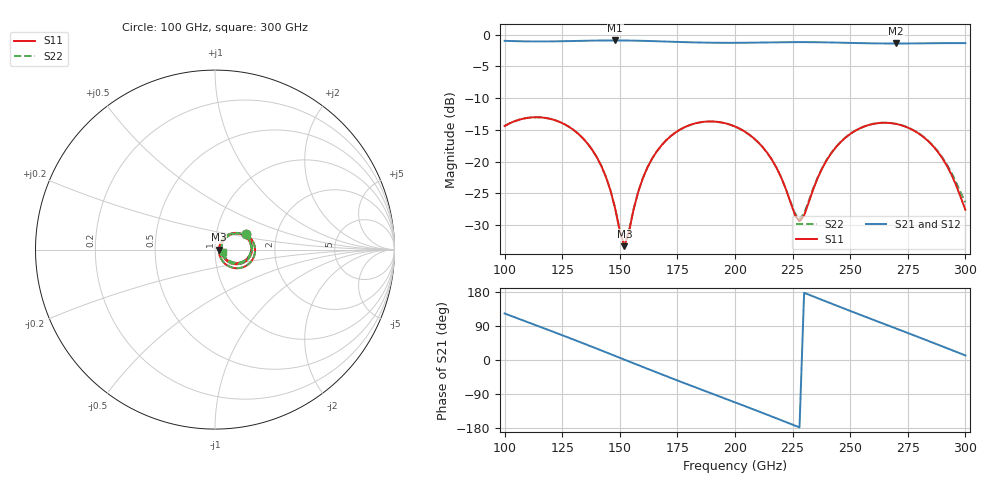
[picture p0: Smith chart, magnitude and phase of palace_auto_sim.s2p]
#  GHZ S DB R 50
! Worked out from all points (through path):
!   101 points, 100 GHz to 300 GHz, reference 50 ohm
!   highest |S21| = -0.94 dB at 148 GHz (marker M1); lowest = -1.4 dB at 270 GHz (marker M2)
!   group delay of S21, straight-line fit = 6.55 ps
!   lowest |S11| = -33.3 dB at 152 GHz (marker M3), VSWR 1.04, Z = 52.2 - j0.0789 ohm
!   |S11| at or under -10 dB: start of sweep to end of sweep
!   |S22| runs from -33.0 to -13.0 dB; largest |S21 - S12| = 1.5e-13
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100  -14.39 26.5  -1.00 122.8  -1.00 122.8  -14.40 26.8
110  -13.11 6.1  -1.08 99.9  -1.08 99.9  -13.11 6.3
118  -13.14 -10.4  -1.09 81.6  -1.09 81.6  -13.14 -10.2
134  -16.32 -42.7  -0.99 44.3  -0.99 44.3  -16.32 -42.4
142  -20.70 -55.3  -0.95 25.2  -0.95 25.2  -20.69 -54.9
148  -27.41 -52.1  -0.94 10.7  -0.94 10.7  -27.34 -51.3
152  -33.29 -2.0  -0.94 1.0  -0.94 1.0  -33.04 -2.0
160  -22.60 53.2  -1.00 -18.3  -1.00 -18.3  -22.58 52.8
168  -17.47 43.1  -1.08 -37.4  -1.08 -37.4  -17.47 42.9
184  -13.87 12.6  -1.25 -74.9  -1.25 -74.9  -13.87 12.6
200  -14.47 -18.1  -1.30 -111.8  -1.30 -111.8  -14.48 -17.9
214  -18.62 -40.5  -1.25 -144.5  -1.25 -144.5  -18.62 -40.0
228  -29.41 1.5  -1.20 -177.9  -1.20 -177.9  -29.05 2.1
234  -24.30 45.1  -1.21 167.7  -1.21 167.7  -24.15 44.2
240  -19.65 46.6  -1.24 153.3  -1.24 153.3  -19.59 45.9
248  -16.20 35.4  -1.30 134.3  -1.30 134.3  -16.18 35.0
258  -14.24 16.8  -1.38 110.8  -1.38 110.8  -14.22 16.7
268  -13.95 -2.6  -1.41 87.6  -1.41 87.6  -13.93 -2.4
270  -14.07 -6.5  -1.41 82.9  -1.41 82.9  -14.05 -6.2
278  -15.18 -21.5  -1.40 64.2  -1.40 64.2  -15.15 -20.7
288  -18.44 -37.2  -1.37 40.7  -1.37 40.7  -18.34 -35.2
300  -27.57 -22.0  -1.35 12.0  -1.35 12.0  -26.41 -17.7
